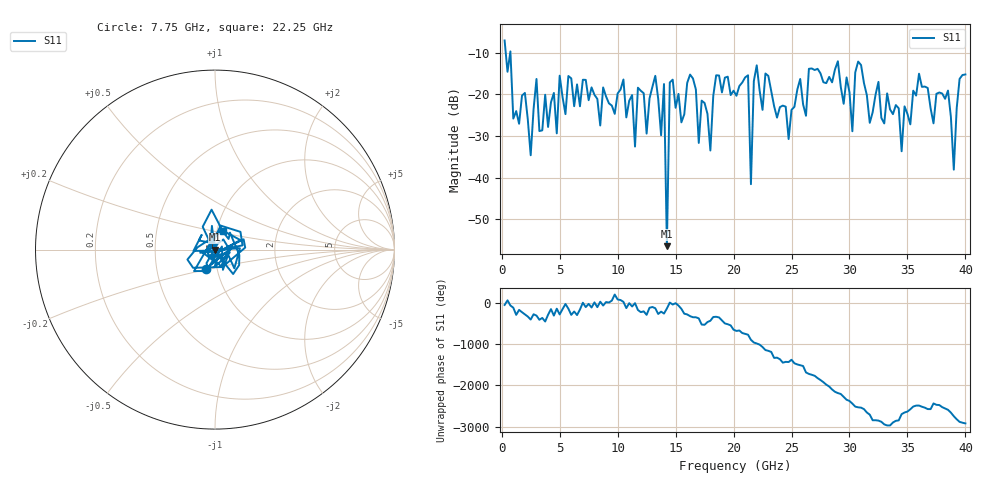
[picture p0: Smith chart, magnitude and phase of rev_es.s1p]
!Created with skrf (http://scikit-rf.org).
# GHz S RI R 50.0
!freq ReS11 ImS11
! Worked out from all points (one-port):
!   160 points, 250 MHz to 40 GHz, reference 50 ohm
!   lowest |S11| = -56.4 dB at 14.25 GHz (marker M1), VSWR 1.00, Z = 49.9 - j0.0966 ohm
!   |S11| at or under -10 dB: 347.9 MHz to 733.8 MHz (385.9 MHz wide, 71.3 % of centre); 754.9 MHz to end of sweep
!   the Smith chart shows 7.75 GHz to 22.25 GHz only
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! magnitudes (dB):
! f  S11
! 250 MHz  -7.1
! 2.5 GHz  -34.6
! 3 GHz  -16.3
! 3.25 GHz  -28.8
! 5.25 GHz  -20.7
! 10.25 GHz  -18.8
! 11.5 GHz  -32.5
! 11.75 GHz  -18.4
! 13.25 GHz  -15.5
! 13.75 GHz  -29.8
! 14 GHz  -17.5
! 14.25 GHz  -56.4
! 14.5 GHz  -17.1
! 15.25 GHz  -19.9
! 18 GHz  -33.5
! 18.5 GHz  -15.4
! 20.25 GHz  -20.3
! 21.25 GHz  -15.4
! 21.5 GHz  -41.5
! 22 GHz  -13.0
! 25.25 GHz  -23.0
! 29 GHz  -12.1
! 30.25 GHz  -28.8
! 30.75 GHz  -12.1
! 35.25 GHz  -27.2
! 38.5 GHz  -19.1
! 39 GHz  -38.1
! 40 GHz  -15.2
